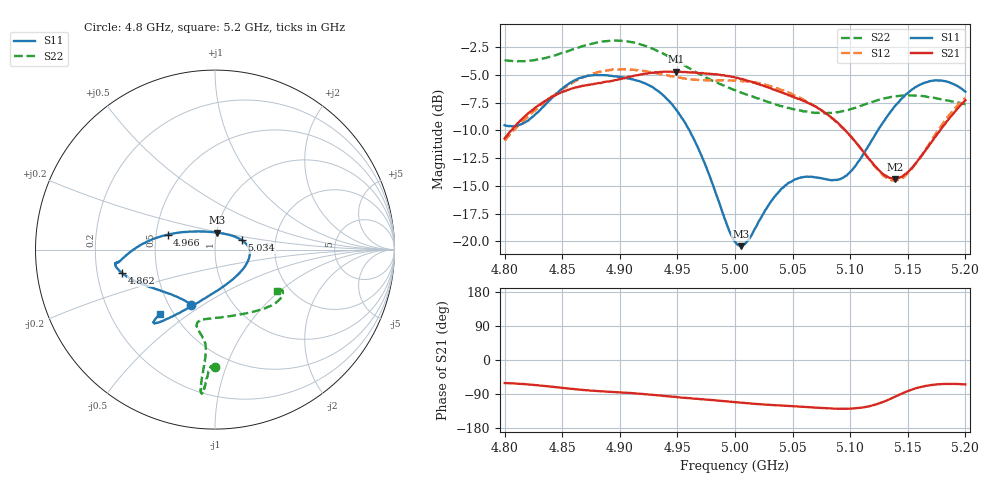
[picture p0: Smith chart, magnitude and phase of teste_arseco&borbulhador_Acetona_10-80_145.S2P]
! Network Analyzer HP8722D
! Hewlett-Packard
! Data name: Linha & Wilkinson
! Saver's name: Rodrigo Anjos
! Comments: Teste da utilização de aquisição
! continua pelo VNA HP8722D
! Time and date: 17/4/2025 15:34
!  Frequency  S11  S21  S12  S22
# HZ  S  MA R 50
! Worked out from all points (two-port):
!   401 points, 4.8 GHz to 5.2 GHz, reference 50 ohm
!   highest |S21| = -4.69 dB at 4.949 GHz (marker M1); lowest = -14.4 dB at 5.139 GHz (marker M2)
!   |S21| within 3 dB of the highest: 4.83 GHz to 5.067 GHz (236.6 MHz wide, 4.78 % of centre); 5.196103 GHz to end of sweep
!   lowest |S11| = -20.4 dB at 5.005 GHz (marker M3), VSWR 1.21, Z = 50.3 + j9.59 ohm
!   |S11| at or under -10 dB: 4.96 GHz to 5.124 GHz (163.6 MHz wide, 3.24 % of centre)
!   |S22| runs from -8.5 to -1.9 dB; largest |S21 - S12| = 0.87
!   S11 on the Smith chart (normalised r, x): 4.8 GHz: 0.64, -0.44; 4.862 GHz: 0.31, -0.11; 4.966 GHz: 0.58, +0.10; 5.034 GHz: 1.34, +0.15; 5.2 GHz: 0.42, -0.39
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4.8e9  0.334 -113.6  0.2908 -61.0  0.2848 -175.0  0.6564 -90.1
4.819e9  0.3474 -133.6  0.3719 -64.2  0.3602 -173.9  0.6504 -91.7
4.862e9  0.5357 -165.9  0.4953 -77.3  0.5291 -177.0  0.7418 -93.9
4.867e9  0.5477 -167.9  0.5013 -78.8  0.5444 -178.0  0.7563 -94.1
4.899e9  0.5503 -172.4  0.5375 -85.4  0.5956 175.2  0.8021 -95.4
4.934e9  0.4736 -178.3  0.5793 -93.6  0.572 171.6  0.7159 -95.8
4.949e9  0.3918 174.6  0.5826 -97.5  0.5502 172.0  0.6514 -95.5
4.966e9  0.2769 162.6  0.5754 -102.1  0.5352 173.7  0.5797 -95.0
5e9  0.0995 100.3  0.5478 -111.2  0.5303 176.0  0.4803 -99.2
5.005e9  0.09517 82.5  0.5406 -112.5  0.5283 176.0  0.4693 -100.4
5.013e9  0.1039 56.8  0.5254 -114.6  0.5234 175.7  0.4541 -102.0
5.034e9  0.1584 19.8  0.4828 -119.3  0.4942 174.8  0.4165 -103.5
5.051e9  0.189 2.6  0.4467 -122.0  0.4568 174.1  0.394 -99.0
5.067e9  0.1953 -14.6  0.4122 -125.2  0.4144 173.5  0.3808 -90.5
5.087e9  0.1889 -46.6  0.349 -128.5  0.3496 173.7  0.3813 -75.3
5.097e9  0.1981 -67.3  0.3111 -128.7  0.3109 174.5  0.3902 -67.1
5.134e9  0.3773 -116.8  0.1933 -103.7  0.19 -156.7  0.4464 -43.0
5.139e9  0.4083 -119.8  0.1912 -96.8  0.1884 -148.8  0.451 -40.8
5.151e9  0.4714 -124.8  0.2076 -81.1  0.2049 -130.5  0.4554 -36.5
5.17e9  0.5285 -129.1  0.2774 -66.3  0.2829 -112.4  0.446 -32.1
5.184e9  0.5247 -130.4  0.3487 -63.1  0.3602 -107.3  0.432 -31.1
5.2e9  0.4729 -130.7  0.4326 -64.5  0.4444 -106.6  0.4151 -33.5
